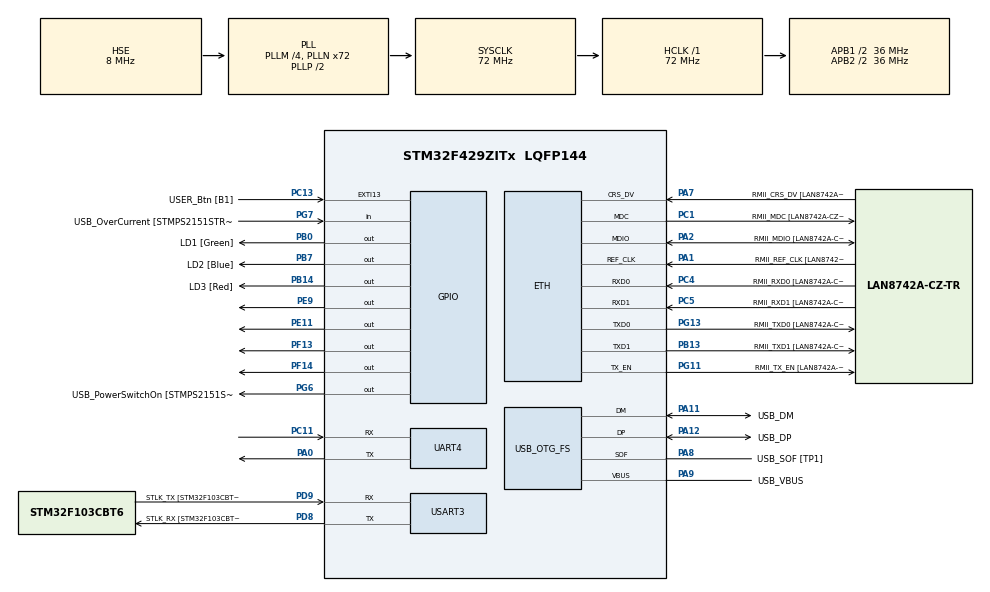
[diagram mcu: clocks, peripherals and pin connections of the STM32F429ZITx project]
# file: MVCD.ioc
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ETH.MediaInterface=ETH_MEDIA_INTERFACE_RMII
ETH.PHY_Name=LAN8742A_PHY_ADDRESS
ETH.PHY_Value=0
ETH.PhyAddress=0
Mcu.Family=STM32F4
Mcu.Name=STM32F429ZITx
Mcu.Package=LQFP144
NVIC.PriorityGroup=NVIC_PRIORITYGROUP_4
PA0/WKUP.Mode=Asynchronous
PA0/WKUP.Signal=UART4_TX
PA1.GPIO_Label=RMII_REF_CLK [LAN8742A-CZ-TR_REFCLK0]
PA1.Mode=RMII
PA1.Signal=ETH_REF_CLK
PA10.GPIO_Label=USB_ID
PA10.Signal=USB_OTG_FS_ID
PA11.GPIO_Label=USB_DM
PA11.Mode=Device_Only
PA11.Signal=USB_OTG_FS_DM
PA12.GPIO_Label=USB_DP
PA12.Mode=Device_Only
PA12.Signal=USB_OTG_FS_DP
PA13.GPIO_Label=TMS
PA13.Mode=Serial_Wire
PA13.Signal=SYS_JTMS-SWDIO
PA14.GPIO_Label=TCK
PA14.Mode=Serial_Wire
PA14.Signal=SYS_JTCK-SWCLK
PA2.GPIO_Label=RMII_MDIO [LAN8742A-CZ-TR_MDIO]
PA2.Mode=RMII
PA2.Signal=ETH_MDIO
PA7.GPIO_Label=RMII_CRS_DV [LAN8742A-CZ-TR_CRS_DV]
PA7.Mode=RMII
PA7.Signal=ETH_CRS_DV
PA8.GPIO_Label=USB_SOF [TP1]
PA8.Mode=Activate_SOF_FS
PA8.Signal=USB_OTG_FS_SOF
PA9.GPIO_Label=USB_VBUS
PA9.Mode=Activate_VBUS
PA9.Signal=USB_OTG_FS_VBUS
PB0.GPIO_Label=LD1 [Green]
PB0.Signal=GPIO_Output
PB13.GPIO_Label=RMII_TXD1 [LAN8742A-CZ-TR_TXD1]
PB13.Mode=RMII
PB13.Signal=ETH_TXD1
PB14.GPIO_Label=LD3 [Red]
PB14.Signal=GPIO_Output
PB7.GPIO_Label=LD2 [Blue]
PB7.Signal=GPIO_Output
PC1.GPIO_Label=RMII_MDC [LAN8742A-CZ-TR_MDC]
PC1.Mode=RMII
PC1.Signal=ETH_MDC
PC11.Mode=Asynchronous
PC11.Signal=UART4_RX
PC13.GPIO_Label=USER_Btn [B1]
PC13.Signal=GPXTI13
PC14/OSC32_IN.Mode=LSE-External-Oscillator
PC14/OSC32_IN.Signal=RCC_OSC32_IN
PC15/OSC32_OUT.Mode=LSE-External-Oscillator
PC15/OSC32_OUT.Signal=RCC_OSC32_OUT
PC4.GPIO_Label=RMII_RXD0 [LAN8742A-CZ-TR_RXD0]
PC4.Mode=RMII
PC4.Signal=ETH_RXD0
PC5.GPIO_Label=RMII_RXD1 [LAN8742A-CZ-TR_RXD1]
PC5.Mode=RMII
PC5.Signal=ETH_RXD1
PD8.GPIO_Label=STLK_RX [STM32F103CBT6_PA3]
PD8.Mode=Asynchronous
PD8.Signal=USART3_TX
PD9.GPIO_Label=STLK_TX [STM32F103CBT6_PA2]
PD9.Mode=Asynchronous
PD9.Signal=USART3_RX
PE11.Signal=GPIO_Output
PE9.Signal=GPIO_Output
PF13.Signal=GPIO_Output
PF14.Signal=GPIO_Output
PG11.GPIO_Label=RMII_TX_EN [LAN8742A-CZ-TR_TXEN]
PG11.Mode=RMII
PG11.Signal=ETH_TX_EN
PG13.GPIO_Label=RMII_TXD0 [LAN8742A-CZ-TR_TXD0]
PG13.Mode=RMII
PG13.Signal=ETH_TXD0
PG6.GPIO_Label=USB_PowerSwitchOn [STMPS2151STR_EN]
PG6.Signal=GPIO_Output
PG7.GPIO_Label=USB_OverCurrent [STMPS2151STR_FAULT]
PG7.Signal=GPIO_Input
PH0/OSC_IN.GPIO_Label=MCO [STM32F103CBT6_PA8]
PH0/OSC_IN.Mode=HSE-External-Clock-Source
PH0/OSC_IN.Signal=RCC_OSC_IN
PH1/OSC_OUT.Mode=HSE-External-Clock-Source
PH1/OSC_OUT.Signal=RCC_OSC_OUT
ProjectManager.HeapSize=0x200
ProjectManager.StackSize=0x400
ProjectManager.TargetToolchain=STM32CubeIDE
RCC.48MHZClocksFreq_Value=48000000
RCC.AHBFreq_Value=72000000
RCC.APB1CLKDivider=RCC_HCLK_DIV2
RCC.APB1Freq_Value=36000000
RCC.APB1TimFreq_Value=72000000
RCC.APB2CLKDivider=RCC_HCLK_DIV2
RCC.APB2Freq_Value=36000000
RCC.APB2TimFreq_Value=72000000
RCC.CortexFreq_Value=72000000
RCC.HCLKFreq_Value=72000000
RCC.HSE_VALUE=8000000
RCC.HSI_VALUE=16000000
RCC.PLLM=4
RCC.PLLMUL=RCC_PLL_MUL9
RCC.PLLN=72
RCC.PLLQ=3
RCC.PRESCALERUSB=RCC_USBCLKSOURCE_PLL_DIV1_5
RCC.SYSCLKFreq_VALUE=72000000
RCC.SYSCLKSource=RCC_SYSCLKSOURCE_PLLCLK
RCC.SYSCLKSourceVirtual=RCC_SYSCLKSOURCE_PLLCLK
RCC.USBFreq_Value=48000000
RCC.VCOOutputFreq_Value=144000000
TIM1.Period=0xffff
TIM1.Prescaler=72-1
UART4.VirtualMode=Asynchronous
USART3.VirtualMode=VM_ASYNC
USB_OTG_FS.VirtualMode=Device_Only
VP_TIM1_VS_ClockSourceINT.Mode=Internal
board=NUCLEO-F429ZI

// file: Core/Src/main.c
/* USER CODE BEGIN Header */
/**
  ******************************************************************************
  * @file           : main.c
  * @brief          : Main program body
  ******************************************************************************
  * @attention
  *
  * <h2><center>&copy; Copyright (c) 2020 STMicroelectronics.
  * All rights reserved.</center></h2>
  *
  * This software component is licensed by ST under BSD 3-Clause license,
  * the "License"; You may not use this file except in compliance with the
  * License. You may obtain a copy of the License at:
  *                        opensource.org/licenses/BSD-3-Clause
  *
  ******************************************************************************
  */
/* USER CODE END Header */

#include "main.h"
#include "eth.h"
#include "tim.h"
#include "usart.h"
#include "usb_otg.h"
#include "gpio.h"

/* USER CODE BEGIN Includes */
#include "MVCD_ST7920lib.h"
#include "bitmaps.h"
#include "MVCD_Graphics.h"
#include <stdio.h>
/* USER CODE END Includes */

/* USER CODE BEGIN PTD */
int _write(int file, char *p, int len){
	HAL_UART_Transmit(&huart3, p, len, 10);
}
/* USER CODE END PTD */

void SystemClock_Config(void);

int main(void)
{

  /* MCU Configuration--------------------------------------------------------*/

  /* Reset of all peripherals, Initializes the Flash interface and the Systick. */
   HAL_Init();

  /* Configure the system clock */
  SystemClock_Config();

  /* Initialize all configured peripherals */
  MX_GPIO_Init();
  MX_ETH_Init();
  MX_USART3_UART_Init();
  MX_USB_OTG_FS_PCD_Init();
  MX_TIM1_Init();
  MX_UART4_Init();
  /* USER CODE BEGIN 2 */
  uint8_t a = 'a';
  uint8_t s = 'k';
  HAL_TIM_Base_Start(&htim1);
  MVCD_ST7920_baseinit();
  MVCD_ST7920_GraphicMode(ON);
  goto START;
  MVCD_DrawBitmap(cubelogo);
  HAL_Delay(5000);

  MVCD_DrawBitmap(MVCDlogo);
  HAL_Delay(5000);

  MVCD_DrawBitmap(Loading);

  /********************** Loading.... */
  for(int i=0;i<128;i++){
	  for(int j=0;j<4;j++){
		  if(i==0 || i==127) MVCD_dot_xy(i, 30+j);
		  else {
			  if(j==0 || j==3) MVCD_dot_xy(i, 30+j);
		  }
	  }
  }

  while(1){
	  for(int i=0;i<126;i++){
	 	  for(int j=0;j<2;j++){
	 		 MVCD_dot_xy(1+i, 31+j);
	 		 HAL_Delay(25);
	 		 if(HAL_UART_Receive(&huart3, a, 1, 10) == HAL_OK) goto START;
	 	  }
	  }
	  for(int i=0;i<126;i++){
	 	  for(int j=0;j<2;j++){
	 		 MVCD_deldot_xy(1+i, 31+j);
	 	  }
	  }
  }

  START:
  MVCD_LCDclear();
  HAL_Delay(100);
  MVCD_DrawGrid();
  MVCD_Draw1f((double)2/3, 0, 0, 0);
  /********************** Loading.... */
  /* USER CODE END 2 */

  /* Infinite loop */
  while (1)
  {

  }
}

void SystemClock_Config(void)
{
  RCC_OscInitTypeDef RCC_OscInitStruct = {0};
  RCC_ClkInitTypeDef RCC_ClkInitStruct = {0};

  /** Configure the main internal regulator output voltage
  */
  __HAL_RCC_PWR_CLK_ENABLE();
  __HAL_PWR_VOLTAGESCALING_CONFIG(PWR_REGULATOR_VOLTAGE_SCALE3);
  /** Initializes the CPU, AHB and APB busses clocks
  */
  RCC_OscInitStruct.OscillatorType = RCC_OSCILLATORTYPE_HSE;
  RCC_OscInitStruct.HSEState = RCC_HSE_BYPASS;
  RCC_OscInitStruct.PLL.PLLState = RCC_PLL_ON;
  RCC_OscInitStruct.PLL.PLLSource = RCC_PLLSOURCE_HSE;
  RCC_OscInitStruct.PLL.PLLM = 4;
  RCC_OscInitStruct.PLL.PLLN = 72;
  RCC_OscInitStruct.PLL.PLLP = RCC_PLLP_DIV2;
  RCC_OscInitStruct.PLL.PLLQ = 3;
  if (HAL_RCC_OscConfig(&RCC_OscInitStruct) != HAL_OK)
  {
    Error_Handler();
  }
  /** Initializes the CPU, AHB and APB busses clocks
  */
  RCC_ClkInitStruct.ClockType = RCC_CLOCKTYPE_HCLK|RCC_CLOCKTYPE_SYSCLK
                              |RCC_CLOCKTYPE_PCLK1|RCC_CLOCKTYPE_PCLK2;
  RCC_ClkInitStruct.SYSCLKSource = RCC_SYSCLKSOURCE_PLLCLK;
  RCC_ClkInitStruct.AHBCLKDivider = RCC_SYSCLK_DIV1;
  RCC_ClkInitStruct.APB1CLKDivider = RCC_HCLK_DIV2;
  RCC_ClkInitStruct.APB2CLKDivider = RCC_HCLK_DIV2;

  if (HAL_RCC_ClockConfig(&RCC_ClkInitStruct, FLASH_LATENCY_2) != HAL_OK)
  {
    Error_Handler();
  }
}

void Error_Handler(void)
{
}

/************************ (C) COPYRIGHT STMicroelectronics *****END OF FILE****/
